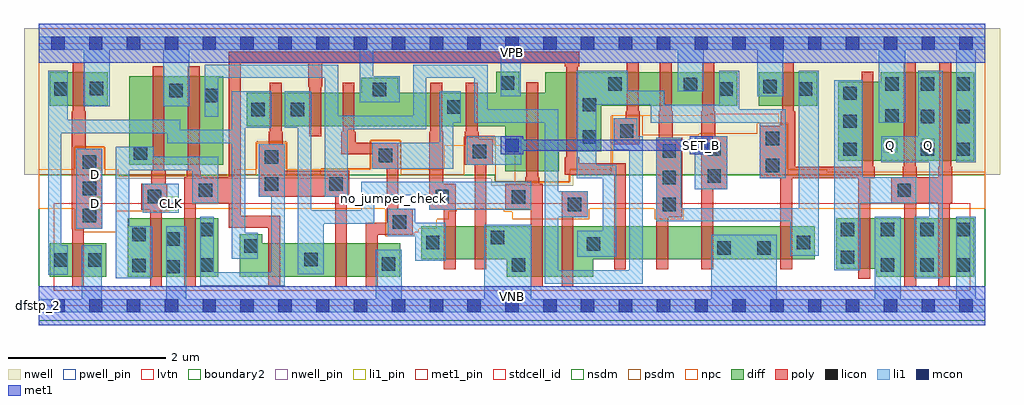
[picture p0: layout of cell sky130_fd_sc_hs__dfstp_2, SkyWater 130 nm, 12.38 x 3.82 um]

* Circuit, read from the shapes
.subckt sky130_fd_sc_hs__dfstp_2 CLK D Q SET_B VGND VNB VPB VPWR
XM1 VGND D n1 VNB sky130_fd_pr__nfet_01v8_lvt w=0.42 l=0.15
XM2 VGND CLK n2 VNB sky130_fd_pr__nfet_01v8_lvt w=0.74 l=0.15
XM3 n3 n2 VGND VNB sky130_fd_pr__nfet_01v8_lvt w=0.74 l=0.15
XM4 n4 n2 n1 VNB sky130_fd_pr__nfet_01v8_lvt w=0.42 l=0.15
XM5 n5 n3 n4 VNB sky130_fd_pr__nfet_01v8_lvt w=0.42 l=0.15
XM6 VGND n6 n5 VNB sky130_fd_pr__nfet_01v8_lvt w=0.42 l=0.15
XM7 n7 n4 n6 VNB sky130_fd_pr__nfet_01v8_lvt w=0.42 l=0.15
XM8 VGND SET_B n7 VNB sky130_fd_pr__nfet_01v8_lvt w=0.42 l=0.15
XM9 n8 n4 VGND VNB sky130_fd_pr__nfet_01v8_lvt w=0.64 l=0.15
XM10 n9 n3 n8 VNB sky130_fd_pr__nfet_01v8_lvt w=0.64 l=0.15
XM11 n10 n2 n9 VNB sky130_fd_pr__nfet_01v8_lvt w=0.42 l=0.15
XM12 n11 n12 n10 VNB sky130_fd_pr__nfet_01v8_lvt w=0.42 l=0.15
XM13 VGND SET_B n11 VNB sky130_fd_pr__nfet_01v8_lvt w=0.42 l=0.15
XM14 n12 n9 VGND VNB sky130_fd_pr__nfet_01v8_lvt w=0.42 l=0.15
XM15 VGND n9 n13 VNB sky130_fd_pr__nfet_01v8_lvt w=0.64 l=0.15
XM16 Q n13 VGND VNB sky130_fd_pr__nfet_01v8_lvt w=0.74 l=0.15 m=2
XM17 VPWR D n1 VPB sky130_fd_pr__pfet_01v8 w=0.42 l=0.15
XM18 VPWR CLK n2 VPB sky130_fd_pr__pfet_01v8 w=1.12 l=0.15
XM19 n3 n2 VPWR VPB sky130_fd_pr__pfet_01v8 w=1.12 l=0.15
XM20 n4 n3 n1 VPB sky130_fd_pr__pfet_01v8 w=0.42 l=0.15
XM21 n14 n2 n4 VPB sky130_fd_pr__pfet_01v8 w=0.42 l=0.15
XM22 VPWR n6 n14 VPB sky130_fd_pr__pfet_01v8 w=0.42 l=0.15
XM23 n6 n4 VPWR VPB sky130_fd_pr__pfet_01v8 w=0.42 l=0.15
XM24 VPWR SET_B n6 VPB sky130_fd_pr__pfet_01v8 w=0.42 l=0.15
XM25 n15 n4 VPWR VPB sky130_fd_pr__pfet_01v8 w=1 l=0.15
XM26 n9 n2 n15 VPB sky130_fd_pr__pfet_01v8 w=1 l=0.15
XM27 n16 n3 n9 VPB sky130_fd_pr__pfet_01v8 w=0.42 l=0.15
XM28 VPWR n12 n16 VPB sky130_fd_pr__pfet_01v8 w=0.42 l=0.15
XM29 n9 SET_B VPWR VPB sky130_fd_pr__pfet_01v8 w=0.42 l=0.15
XM30 n12 n9 VPWR VPB sky130_fd_pr__pfet_01v8 w=0.42 l=0.15
XM31 VPWR n9 n13 VPB sky130_fd_pr__pfet_01v8 w=1 l=0.15
XM32 Q n13 VPWR VPB sky130_fd_pr__pfet_01v8 w=1.12 l=0.15 m=2
.ends

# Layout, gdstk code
import gdstk
lib = gdstk.Library(unit=1e-6, precision=1e-09)
def R(c, l, rs):  # rectangles x0, y0, x1, y1
    for r in rs: c.add(gdstk.rectangle(r[:2], r[2:], *l))
def A(c, l, x, y, w, h, nx, ny, dx, dy):  # array of equal rectangles
    R(c, l, [(x+i*dx, y+j*dy, x+i*dx+w, y+j*dy+h) for i in range(nx) for j in range(ny)])
def P(c, l, *ps):  # polygons
    for p in ps: c.add(gdstk.Polygon(p, *l))
nwell_pin = (64, 16)
nwell = (64, 20)
diff = (65, 20)
poly = (66, 20)
licon = (66, 44)
li1_pin = (67, 16)
li1 = (67, 20)
mcon = (67, 44)
met1_pin = (68, 16)
met1 = (68, 20)
stdcell_id = (81, 4)
nsdm = (93, 44)
psdm = (94, 20)
npc = (95, 20)
pwell_pin = (122, 16)
lvtn = (125, 44)
boundary2 = (236, 0)

sky130_fd_sc_hs__dfstp_2 = lib.new_cell('sky130_fd_sc_hs__dfstp_2')
R(sky130_fd_sc_hs__dfstp_2, nwell_pin, [(0,3.085,12,3.33)])
P(sky130_fd_sc_hs__dfstp_2, nwell, [(12.19,3.52),(-0.19,3.52),(-0.19,1.66),(0.965,1.66),(0.965,1.61),(5.735,1.61),(5.735,1.525),(6.775,1.525),(6.775,1.66),(12.19,1.66)])
R(sky130_fd_sc_hs__dfstp_2, diff, [(0.135,0.37,0.855,0.79), (1.125,0.37,2.275,1.11), (1.145,1.79,2.335,2.91), (0.135,2.54,0.875,2.96), (9.13,2.54,9.87,2.96)])
P(sky130_fd_sc_hs__dfstp_2, diff, [(4.58,0.79),(2.835,0.79),(2.835,0.905),(2.545,0.905),(2.545,0.37),(4.58,0.37)],
  [(8.86,2.96),(6.42,2.96),(6.42,2.705),(6.09,2.705),(6.09,2.97),(5.8,2.97),(5.8,2.7),(4.555,2.7),(4.555,2.89),(4.09,2.89),(4.09,2.7),(2.635,2.7),(2.635,2.28),(5.915,2.28),(5.915,1.705),(6.595,1.705),(6.595,1.96),(7.13,1.96),(7.13,2.54),(8.86,2.54)],
  [(9.84,1.01),(4.85,1.01),(4.85,0.59),(5.935,0.59),(5.935,0.37),(7.03,0.37),(7.03,0.59),(9.84,0.59)],
  [(11.865,2.96),(10.675,2.96),(10.675,2.84),(10.14,2.84),(10.14,1.84),(11.865,1.84)],
  [(11.865,1.11),(10.11,1.11),(10.11,0.47),(10.62,0.47),(10.62,0.37),(11.865,0.37)])
P(sky130_fd_sc_hs__dfstp_2, poly, [(11.585,1.765),(11.57,1.765),(11.57,3.09),(11.42,3.09),(11.42,1.765),(11.405,1.765),(11.405,1.63),(11.135,1.63),(11.135,1.765),(11.12,1.765),(11.12,3.09),(10.97,3.09),(10.97,1.765),(10.955,1.765),(10.955,1.63),(10.81,1.63),(10.81,1.3),(10.975,1.3),(10.975,0.24),(11.125,0.24),(11.125,1.3),(11.405,1.3),(11.405,0.24),(11.555,0.24),(11.555,1.3),(11.585,1.3)],
  [(10.6,1.765),(10.585,1.765),(10.585,2.97),(10.435,2.97),(10.435,1.765),(9.59,1.765),(9.59,2.465),(9.575,2.465),(9.575,3.09),(9.425,3.09),(9.425,2.465),(9.41,2.465),(9.41,2.285),(9.14,2.285),(9.14,1.615),(9.405,1.615),(9.405,0.46),(9.555,0.46),(9.555,1.615),(10.395,1.615),(10.395,0.34),(10.545,0.34),(10.545,1.615),(10.6,1.615)],
  [(8.73,2.15),(8.58,2.15),(8.58,2.465),(8.565,2.465),(8.565,3.09),(8.415,3.09),(8.415,2.465),(8.4,2.465),(8.4,0.46),(8.55,0.46),(8.55,1.48),(8.73,1.48)],
  [(8.16,2.13),(8.04,2.13),(8.04,2.465),(8.025,2.465),(8.025,3.09),(7.875,3.09),(7.875,2.465),(7.86,2.465),(7.86,2.13),(7.83,2.13),(7.83,0.46),(7.98,0.46),(7.98,1.12),(8.16,1.12)],
  [(7.62,2.465),(7.605,2.465),(7.605,3.09),(7.455,3.09),(7.455,2.465),(7.44,2.465),(7.44,2.38),(7.29,2.38),(7.29,2.05),(7.62,2.05)],
  [(7.445,1.81),(6.85,1.81),(6.85,1.885),(6.835,1.885),(6.835,3.035),(6.85,3.035),(6.85,3.225),(2.41,3.225),(2.41,1.63),(2.055,1.63),(2.055,1.715),(2.04,1.715),(2.04,3.04),(1.89,3.04),(1.89,1.715),(1.875,1.715),(1.875,1.63),(1.84,1.63),(1.84,0.24),(1.99,0.24),(1.99,1.3),(2.41,1.3),(2.41,0.99),(2.91,0.99),(2.91,0.24),(3.06,0.24),(3.06,1.14),(2.56,1.14),(2.56,3.075),(3.415,3.075),(3.415,2.775),(3.43,2.775),(3.43,2.15),(3.58,2.15),(3.58,2.775),(3.595,2.775),(3.595,3.075),(6.67,3.075),(6.67,3.035),(6.685,3.035),(6.685,1.885),(6.67,1.885),(6.67,1.66),(7.295,1.66),(7.295,0.46),(7.445,0.46)],
  [(6.96,1.45),(6.63,1.45),(6.63,0.24),(6.78,0.24),(6.78,1.12),(6.96,1.12)],
  [(6.39,1.545),(6.345,1.545),(6.345,1.63),(6.33,1.63),(6.33,2.835),(6.18,2.835),(6.18,1.63),(6.165,1.63),(6.165,1.545),(5.915,1.545),(5.915,1.215),(6.24,1.215),(6.24,0.24),(6.39,0.24)],
  [(5.755,2.12),(5.58,2.12),(5.58,2.205),(5.565,2.205),(5.565,2.83),(5.415,2.83),(5.415,2.205),(5.4,2.205),(5.4,1.79),(5.525,1.79),(5.525,0.46),(5.675,0.46),(5.675,1.79),(5.755,1.79)],
  [(5.285,1.55),(5.13,1.55),(5.13,2.205),(5.115,2.205),(5.115,2.83),(4.965,2.83),(4.965,2.205),(4.95,2.205),(4.95,1.22),(5.135,1.22),(5.135,0.46),(5.285,0.46)],
  [(4.74,1.23),(4.56,1.23),(4.56,2.07),(4.015,2.07),(4.015,2.205),(4,2.205),(4,2.83),(3.85,2.83),(3.85,2.205),(3.835,2.205),(3.835,1.92),(4.23,1.92),(4.23,1.74),(4.41,1.74),(4.41,1.05),(4.145,1.05),(4.145,0.24),(4.295,0.24),(4.295,0.9),(4.74,0.9)],
  [(3.935,1.71),(3.115,1.71),(3.115,2.05),(3.095,2.05),(3.095,2.205),(3.08,2.205),(3.08,2.83),(2.93,2.83),(2.93,2.205),(2.915,2.205),(2.915,2.05),(2.785,2.05),(2.785,1.38),(3.755,1.38),(3.755,0.24),(3.905,0.24),(3.905,1.38),(3.935,1.38)],
  [(1.63,1.55),(1.605,1.55),(1.605,1.715),(1.59,1.715),(1.59,3.04),(1.44,3.04),(1.44,1.715),(1.425,1.715),(1.425,1.55),(1.3,1.55),(1.3,1.22),(1.41,1.22),(1.41,0.24),(1.56,0.24),(1.56,1.22),(1.63,1.22)],
  [(0.805,1.99),(0.595,1.99),(0.595,2.465),(0.58,2.465),(0.58,3.09),(0.43,3.09),(0.43,2.465),(0.415,2.465),(0.415,0.98),(0.42,0.98),(0.42,0.24),(0.57,0.24),(0.57,0.98),(0.805,0.98)])
A(sky130_fd_sc_hs__dfstp_2, licon, 0.555, 1.06, 0.17, 0.17, 1, 3, 0, 0.34)
A(sky130_fd_sc_hs__dfstp_2, licon, 7.91, 1.2, 0.17, 0.17, 1, 3, 0, 0.34)
A(sky130_fd_sc_hs__dfstp_2, licon, 10.2, 1.9, 0.17, 0.17, 1, 3, 0, 0.355)
A(sky130_fd_sc_hs__dfstp_2, licon, 10.735, 2.73, 0.17, 0.17, 3, 1, 0.45, 0)
R(sky130_fd_sc_hs__dfstp_2, licon, [(1.615,0.41,1.785,0.58), (1.185,0.425,1.355,0.595), (2.045,0.43,2.215,0.6), (5.995,0.43,6.165,0.6), (10.68,0.43,10.85,0.6), (11.18,0.43,11.35,0.6), (11.635,0.43,11.805,0.6), (4.35,0.445,4.52,0.615), (0.195,0.495,0.365,0.665), (0.625,0.495,0.795,0.665), (3.365,0.5,3.535,0.67), (10.17,0.53,10.34,0.7), (8.605,0.65,8.775,0.82), (9.11,0.65,9.28,0.82), (2.605,0.675,2.775,0.845), (6.95,0.7,7.12,0.87), (4.91,0.715,5.08,0.885), (9.61,0.715,9.78,0.885), (1.615,0.76,1.785,0.93), (5.73,0.78,5.9,0.95), (1.185,0.82,1.355,0.99), (2.045,0.88,2.215,1.05), (10.17,0.88,10.34,1.05), (10.68,0.88,10.85,1.05), (11.18,0.88,11.35,1.05), (11.635,0.88,11.805,1.05), (4.49,0.98,4.66,1.15), (6.71,1.2,6.88,1.37), (5.995,1.295,6.165,1.465), (1.38,1.3,1.55,1.47), (5.03,1.3,5.2,1.47), (2.025,1.38,2.195,1.55), (10.89,1.38,11.06,1.55), (2.865,1.46,3.035,1.63), (3.685,1.46,3.855,1.63), (8.48,1.56,8.65,1.73), (9.22,1.695,9.39,1.865), (2.865,1.8,3.035,1.97), (4.31,1.82,4.48,1.99), (1.205,1.85,1.375,2.02), (5.505,1.87,5.675,2.04), (8.48,1.9,8.65,2.07), (11.185,1.9,11.355,2.07), (11.635,1.9,11.805,2.07), (9.22,2.035,9.39,2.205), (6.9,2.055,7.07,2.225), (7.37,2.13,7.54,2.3), (11.185,2.315,11.355,2.485), (11.635,2.315,11.805,2.485), (10.735,2.32,10.905,2.49), (2.695,2.405,2.865,2.575), (3.195,2.405,3.365,2.575), (5.18,2.435,5.35,2.605), (6.9,2.465,7.07,2.635), (2.105,2.58,2.275,2.75), (1.655,2.645,1.825,2.815), (4.235,2.66,4.405,2.83), (0.195,2.665,0.365,2.835), (8.63,2.665,8.8,2.835), (9.64,2.665,9.81,2.835), (0.645,2.67,0.815,2.84), (9.19,2.695,9.36,2.865), (8.18,2.725,8.35,2.895), (7.22,2.73,7.39,2.9), (5.86,2.74,6.03,2.91)])
R(sky130_fd_sc_hs__dfstp_2, li1_pin, [(0.635,1.21,0.805,1.38), (1.595,1.21,1.765,1.38), (0.635,1.58,0.805,1.75), (10.715,1.95,10.885,2.12), (11.195,1.95,11.365,2.12)])
R(sky130_fd_sc_hs__dfstp_2, li1, [(0.475,0.98,0.805,1.99), (1.315,1.18,1.775,1.55), (8.315,1.48,8.73,2.15), (5.425,1.79,6.115,2.15)])
P(sky130_fd_sc_hs__dfstp_2, li1, [(9.11,2.66),(9.11,3.245),(8.43,3.245),(8.43,2.72),(8.1,2.72),(8.1,3.245),(6.11,3.245),(6.11,2.66),(5.86,2.66),(5.86,3.245),(4.24,3.245),(4.24,2.91),(4.575,2.91),(4.575,2.58),(4.07,2.58),(4.07,3.245),(1.905,3.245),(1.905,2.53),(1.575,2.53),(1.575,3.245),(0.895,3.245),(0.895,2.53),(0.565,2.53),(0.565,3.245),(0,3.245),(0,3.415),(12,3.415),(12,3.245),(11.885,3.245),(11.885,1.82),(11.635,1.82),(11.635,3.245),(10.985,3.245),(10.985,2.32),(10.655,2.32),(10.655,3.245),(9.44,3.245),(9.44,2.66)],
  [(8.525,0.085),(8.525,0.9),(9.36,0.9),(9.36,0.085),(10.6,0.085),(10.6,1.13),(10.93,1.13),(10.93,0.085),(11.635,0.085),(11.635,1.13),(11.885,1.13),(11.885,0.085),(12,0.085),(12,-0.085),(0,-0.085),(0,0.085),(0.545,0.085),(0.545,0.765),(0.795,0.765),(0.795,0.085),(1.615,0.085),(1.615,1.01),(1.865,1.01),(1.865,0.085),(4.27,0.085),(4.27,0.71),(4.6,0.71),(4.6,0.085),(5.65,0.085),(5.65,1.03),(6.245,1.03),(6.245,0.085)],
  [(0.365,2.36),(1.795,2.36),(1.795,2.23),(2.445,2.23),(2.445,2.72),(2.945,2.72),(2.945,2.26),(2.615,2.26),(2.615,0.925),(2.775,0.925),(2.775,0.595),(2.445,0.595),(2.445,2.06),(1.625,2.06),(1.625,2.19),(0.285,2.19),(0.285,0.765),(0.365,0.765),(0.365,0.395),(0.115,0.395),(0.115,2.98),(0.365,2.98)],
  [(10.09,2.86),(10.45,2.86),(10.45,1.63),(11.125,1.63),(11.125,1.3),(10.42,1.3),(10.42,0.45),(10.09,0.45)],
  [(6.82,1.62),(6.82,2.98),(7.47,2.98),(7.47,2.73),(7.93,2.73),(7.93,2.55),(8.63,2.55),(8.63,2.98),(8.88,2.98),(8.88,2.49),(9.47,2.49),(9.47,1.615),(9.14,1.615),(9.14,2.32),(7.76,2.32),(7.76,2.55),(7.07,2.55),(7.07,1.79),(7.32,1.79),(7.32,0.62),(6.825,0.62),(6.825,0.95),(7.15,0.95),(7.15,1.62)],
  [(3.285,2.26),(3.115,2.26),(3.115,2.72),(3.455,2.72),(3.455,1.21),(4.085,1.21),(4.085,1.57),(6.245,1.57),(6.245,1.215),(5.915,1.215),(5.915,1.22),(4.95,1.22),(4.95,1.4),(4.255,1.4),(4.255,1.04),(3.615,1.04),(3.615,0.4),(3.285,0.4)],
  [(1.455,1.89),(2.275,1.89),(2.275,1.3),(1.945,1.3),(1.945,1.72),(1.145,1.72),(1.145,1.01),(1.435,1.01),(1.435,0.35),(0.975,0.35),(0.975,2.02),(1.455,2.02)],
  [(6.415,0.28),(6.415,2.32),(5.52,2.32),(5.52,2.89),(4.915,2.89),(4.915,2.24),(3.915,2.24),(3.915,1.38),(3.625,1.38),(3.625,2.89),(2.275,2.89),(2.275,2.4),(2.105,2.4),(2.105,3.06),(3.795,3.06),(3.795,2.41),(4.745,2.41),(4.745,3.06),(5.69,3.06),(5.69,2.49),(6.585,2.49),(6.585,1.45),(6.96,1.45),(6.96,1.12),(6.585,1.12),(6.585,0.45),(7.49,0.45),(7.49,1.98),(7.29,1.98),(7.29,2.38),(7.59,2.38),(7.59,2.15),(7.66,2.15),(7.66,0.28)],
  [(9.64,1.24),(9.64,2.98),(9.89,2.98),(9.89,0.635),(9.53,0.635),(9.53,1.07),(7.83,1.07),(7.83,2.13),(8.145,2.13),(8.145,1.24)],
  [(5.085,2.07),(5.085,2.72),(5.35,2.72),(5.35,2.32),(5.255,2.32),(5.255,1.74),(4.23,1.74),(4.23,2.07)],
  [(11.465,2.98),(11.155,2.98),(11.155,2.15),(10.685,2.15),(10.685,1.82),(11.295,1.82),(11.295,1.13),(11.1,1.13),(11.1,0.35),(11.465,0.35)],
  [(2.215,0.425),(2.945,0.425),(2.945,1.38),(2.785,1.38),(2.785,2.05),(3.115,2.05),(3.115,0.255),(2.045,0.255),(2.045,1.13),(2.215,1.13)],
  [(4.425,0.88),(4.425,1.23),(4.77,1.23),(4.77,1.05),(5.16,1.05),(5.16,0.57),(4.77,0.57),(4.77,0.88)])
A(sky130_fd_sc_hs__dfstp_2, mcon, 0.155, -0.085, 0.17, 0.17, 25, 2, 0.48, 3.33)
R(sky130_fd_sc_hs__dfstp_2, mcon, [(5.915,1.95,6.085,2.12), (8.315,1.95,8.485,2.12)])
R(sky130_fd_sc_hs__dfstp_2, met1_pin, [(0,0,12,0.245), (8.315,1.95,8.485,2.12), (0,3.085,12,3.33)])
R(sky130_fd_sc_hs__dfstp_2, met1, [(0,-0.245,12,0.245), (0,3.085,12,3.575)])
P(sky130_fd_sc_hs__dfstp_2, met1, [(6.145,2.105),(8.255,2.105),(8.255,2.15),(8.545,2.15),(8.545,1.92),(8.255,1.92),(8.255,1.965),(6.145,1.965),(6.145,1.92),(5.855,1.92),(5.855,2.15),(6.145,2.15)])
R(sky130_fd_sc_hs__dfstp_2, stdcell_id, [(0,0,12,3.33)])
P(sky130_fd_sc_hs__dfstp_2, nsdm, [(12,1.66),(6.725,1.66),(6.725,1.575),(5.785,1.575),(5.785,1.66),(0,1.66),(0,-0.19),(12,-0.19)])
P(sky130_fd_sc_hs__dfstp_2, psdm, [(12,3.52),(0,3.52),(0,1.66),(0.445,1.66),(0.445,2.02),(0.835,2.02),(0.835,1.66),(2.755,1.66),(2.755,2.08),(3.145,2.08),(3.145,1.66),(3.575,1.66),(3.575,1.74),(4.2,1.74),(4.2,2.1),(4.59,2.1),(4.59,1.66),(5.395,1.66),(5.395,2.15),(5.785,2.15),(5.785,1.575),(6.725,1.575),(6.725,1.66),(7.26,1.66),(7.26,2.41),(7.65,2.41),(7.65,2.16),(8.37,2.16),(8.37,2.18),(9.11,2.18),(9.11,2.315),(9.5,2.315),(9.5,1.66),(12,1.66)])
P(sky130_fd_sc_hs__dfstp_2, npc, [(12,1.7),(10,1.7),(10,1.73),(9.49,1.73),(9.49,2.305),(9.385,2.305),(9.385,2.435),(8.485,2.435),(8.485,2.415),(7.27,2.415),(7.27,1.73),(6.735,1.73),(6.735,1.565),(6.04,1.565),(6.04,2.035),(5.775,2.035),(5.775,2.14),(5.405,2.14),(5.405,2.035),(5.14,2.035),(5.14,1.73),(4.58,1.73),(4.58,2.09),(4.21,2.09),(4.21,1.73),(3.135,1.73),(3.135,2.07),(2.765,2.07),(2.765,1.73),(2.475,1.73),(2.475,1.65),(1.005,1.65),(1.005,1.73),(0.825,1.73),(0.825,2.01),(0.455,2.01),(0.455,1.73),(0,1.73),(0,1.23),(0.455,1.23),(0.455,0.96),(0.56,0.96),(0.56,0.935),(0.98,0.935),(0.98,1.2),(1.65,1.2),(1.65,1.23),(4.39,1.23),(4.39,0.88),(4.76,0.88),(4.76,0.935),(4.82,0.935),(4.82,0.975),(5.045,0.975),(5.045,1.1),(5.195,1.1),(5.195,1.2),(5.3,1.2),(5.3,1.23),(5.895,1.23),(5.895,1.195),(6,1.195),(6,1.1),(6.98,1.1),(6.98,1.23),(7.81,1.23),(7.81,1.1),(8.18,1.1),(8.18,1.23),(12,1.23)])
R(sky130_fd_sc_hs__dfstp_2, pwell_pin, [(0,0,12,0.245)])
R(sky130_fd_sc_hs__dfstp_2, lvtn, [(0.19,0.19,11.81,1.3)])
R(sky130_fd_sc_hs__dfstp_2, boundary2, [(0,0,12,3.33)])
sky130_fd_sc_hs__dfstp_2.add(gdstk.Label('dfstp_2', (0,0), layer=83, texttype=44))
sky130_fd_sc_hs__dfstp_2.add(gdstk.Label('no_jumper_check', (4.495,1.36), layer=83, texttype=44))
sky130_fd_sc_hs__dfstp_2.add(gdstk.Label('no_jumper_check', (3.515,1.53), layer=83, texttype=44))
sky130_fd_sc_hs__dfstp_2.add(gdstk.Label('VNB', (6,0.123), layer=64, texttype=59))
sky130_fd_sc_hs__dfstp_2.add(gdstk.Label('VPB', (6,3.208), layer=64, texttype=5))
sky130_fd_sc_hs__dfstp_2.add(gdstk.Label('SET_B', (8.4,2.035), layer=68, texttype=5))
sky130_fd_sc_hs__dfstp_2.add(gdstk.Label('VPWR', (6,3.208), layer=68, texttype=5))
sky130_fd_sc_hs__dfstp_2.add(gdstk.Label('VGND', (6,0.123), layer=68, texttype=5))
sky130_fd_sc_hs__dfstp_2.add(gdstk.Label('CLK', (1.68,1.295), layer=67, texttype=5))
sky130_fd_sc_hs__dfstp_2.add(gdstk.Label('D', (0.72,1.295), layer=67, texttype=5))
sky130_fd_sc_hs__dfstp_2.add(gdstk.Label('D', (0.72,1.665), layer=67, texttype=5))
sky130_fd_sc_hs__dfstp_2.add(gdstk.Label('Q', (10.8,2.035), layer=67, texttype=5))
sky130_fd_sc_hs__dfstp_2.add(gdstk.Label('Q', (11.28,2.035), layer=67, texttype=5))

lib.write_gds('sky130_fd_sc_hs__dfstp_2.gds')
